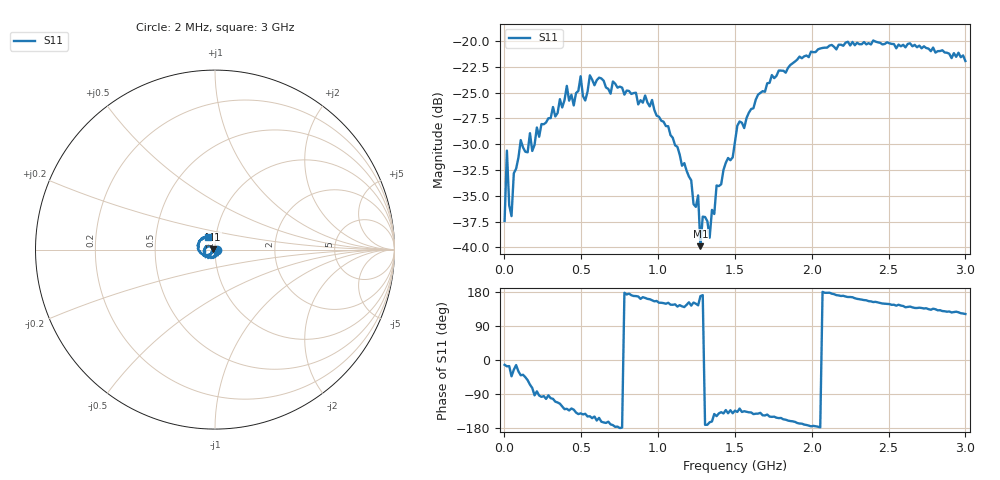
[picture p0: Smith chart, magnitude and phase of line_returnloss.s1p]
! 1-port S-parameter data taken at 201 frequency points
! Created by R&S SxP Library version 0.2.0 at 08-12-2023 12:05:56
# Hz S RI R 50
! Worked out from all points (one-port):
!   201 points, 2 MHz to 3 GHz, reference 50 ohm
!   lowest |S11| = -39.9 dB at 1.276 GHz (marker M1), VSWR 1.02, Z = 49 + j0.196 ohm
!   |S11| at or under -10 dB: start of sweep to end of sweep
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2000000  0.0131 -0.00294
1.699e7  0.0282 -0.00848
3.198e7  0.0154 -0.00444
4.697e7  0.0104 -0.00968
6.196e7  0.0206 -0.00987
1.0693e8  0.0253 -0.0214
1.8188e8  0.00813 -0.0282
2.1186e8  0.00486 -0.0378
3.7675e8  -0.0258 -0.0401
4.0673e8  -0.0381 -0.0473
4.517e8  -0.032 -0.0368
4.9667e8  -0.0523 -0.0428
5.2665e8  -0.0406 -0.0318
5.5663e8  -0.0581 -0.0358
7.515e8  -0.0602 -0.000421
9.6136e8  -0.0479 0.0198
1.12625e9  -0.0239 0.0193
1.23118e9  -0.0143 0.00771
1.26116e9  -0.0145 0.0104
1.27615e9  -0.00995 0.002
1.29114e9  -0.0139 0.00218
1.33611e9  -0.0107 -0.00301
1.38108e9  -0.017 -0.0105
1.501e9  -0.0224 -0.0235
1.87575e9  -0.0741 -0.0243
2.2505e9  -0.0925 0.0227
2.62525e9  -0.0745 0.062
3e9  -0.0417 0.0684
